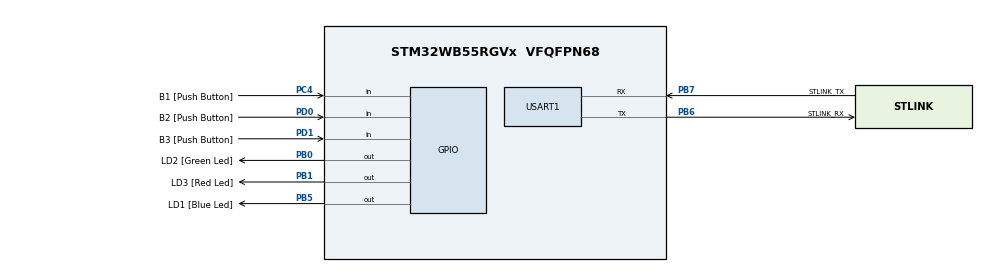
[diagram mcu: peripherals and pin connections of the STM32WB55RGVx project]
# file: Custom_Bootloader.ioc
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Mcu.Family=STM32WB
Mcu.Name=STM32WB55RGVx
Mcu.Package=VFQFPN68
NUCLEO-WB55RG.Bsp_Common_DEMO=true
NVIC.PriorityGroup=NVIC_PRIORITYGROUP_4
NVIC.USART1_IRQn=true\:0\:0\:false\:false\:true\:true\:true\:true
OSC_IN.GPIO_Label=RCC_OSC_IN
OSC_IN.Signal=RCC_OSC_IN
OSC_OUT.GPIO_Label=RCC_OSC_OUT
OSC_OUT.Signal=RCC_OSC_OUT
PA11.GPIO_Label=USB_DM
PA11.Signal=USB_DM
PA12.GPIO_Label=USB_DP
PA12.Signal=USB_DP
PA13.GPIO_Label=JTMS
PA13.Signal=SYS_JTMS-SWDIO
PA14.GPIO_Label=JTCK
PA14.Signal=SYS_JTCK-SWCLK
PB0.GPIO_Label=LD2 [Green Led]
PB0.Signal=GPIO_Output
PB1.GPIO_Label=LD3 [Red Led]
PB1.Signal=GPIO_Output
PB3.GPIO_Label=JTDO
PB3.Signal=SYS_JTDO-SWO
PB5.GPIO_Label=LD1 [Blue Led]
PB5.Signal=GPIO_Output
PB6.GPIO_Label=STLINK_RX
PB6.Mode=Asynchronous
PB6.Signal=USART1_TX
PB7.GPIO_Label=STLINK_TX
PB7.Mode=Asynchronous
PB7.Signal=USART1_RX
PC13.GPIO_Label=SYS_WKUP2
PC13.Signal=SYS_WKUP2
PC14-OSC32_IN.GPIO_Label=RCC_OSC32_IN
PC14-OSC32_IN.Signal=RCC_OSC32_IN
PC15-OSC32_OUT.GPIO_Label=RCC_OSC32_OUT
PC15-OSC32_OUT.Signal=RCC_OSC32_OUT
PC4.GPIO_Label=B1 [Push Button]
PC4.Signal=GPIO_Input
PD0.GPIO_Label=B2 [Push Button]
PD0.Signal=GPIO_Input
PD1.GPIO_Label=B3 [Push Button]
PD1.Signal=GPIO_Input
ProjectManager.HeapSize=0x200
ProjectManager.StackSize=0x400
ProjectManager.TargetToolchain=STM32CubeIDE
RCC.ADCFreq_Value=128000000
RCC.AHBFreq_Value=32000000
RCC.APB1Freq_Value=32000000
RCC.APB1TimFreq_Value=32000000
RCC.APB2Freq_Value=32000000
RCC.APB2TimFreq_Value=32000000
RCC.APB3Freq_Value=16000000
RCC.CortexFreq_Value=32000000
RCC.HCLKFreq_Value=32000000
RCC.HSE_VALUE=32000000
RCC.HSI48_VALUE=48000000
RCC.HSI_VALUE=16000000
RCC.LSE_VALUE=32768
RCC.MSIClockRange=RCC_MSIRANGE_10
RCC.SMPSCLockSelection=RCC_SMPSCLKSOURCE_HSI
RCC.SMPSCLockSelectionVirtual=RCC_SMPSCLKSOURCE_HSI
RCC.SMPSCLockSelectionVirtualVirtual=RCC_SMPSCLKSOURCE_HSI
RCC.SMPSDivider=1
RCC.SYSCLKFreq_VALUE=32000000
RCC.USBFreq_Value=128000000
RCC.VCOOutputFreq_Value=256000000
USART1.VirtualMode-Asynchronous=VM_ASYNC
VP_MEMORYMAP_VS_MEMORYMAP.Mode=CurAppReg
VP_NUCLEO-WB55RG_VS_BSP_COMMON.Mode=COMMON
board=NUCLEO-WB55RG

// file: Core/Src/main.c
/* USER CODE BEGIN Header */
/**
  ******************************************************************************
  * @file           : main.c
  * @brief          : Main program body
  ******************************************************************************
  * @attention
  *
  * Copyright (c) 2025 STMicroelectronics.
  * All rights reserved.
  *
  * This software is licensed under terms that can be found in the LICENSE file
  * in the root directory of this software component.
  * If no LICENSE file comes with this software, it is provided AS-IS.
  *
  ******************************************************************************
  */
/* USER CODE END Header */
#include "main.h"

/* USER CODE BEGIN PTD */
#include <stdio.h>
/* USER CODE END PTD */

/* USER CODE BEGIN PM */
#define MAJOR 0   // BL Major version Number
#define MINOR 1   // BL Minor version Number
/* USER CODE END PM */

static uint32_t delay = 250;
UART_HandleTypeDef huart1;

/* USER CODE BEGIN PV */
const uint8_t BL_Version[2] = { MAJOR, MINOR };
/* USER CODE END PV */

void SystemClock_Config(void);
void PeriphCommonClock_Config(void);
static void MX_GPIO_Init(void);
static void MX_USART1_UART_Init(void);
/* USER CODE BEGIN PFP */
static void goto_application(void);
/* USER CODE END PFP */

int main(void)
{

  /* MCU Configuration--------------------------------------------------------*/

  /* Reset of all peripherals, Initializes the Flash interface and the Systick. */
  HAL_Init();

  /* Configure the system clock */
  SystemClock_Config();

  /* Configure the peripherals common clocks */
  PeriphCommonClock_Config();

  /* Initialize all configured peripherals */
  MX_GPIO_Init();
  MX_USART1_UART_Init();
  /* USER CODE BEGIN 2 */
  printf("Starting Custom Bootloader v(%d.%d) [by : ELHALOUA MOHAMED]\r\n",BL_Version[0],BL_Version[1]);
//  HAL_GPIO_WritePin(GPIOB,GPIO_PIN_1,GPIO_PIN_SET);
//  HAL_Delay(1000);

  goto_application();
  /* USER CODE END 2 */

  /* Infinite loop */
  while (1)
  {

  }
}

void SystemClock_Config(void)
{
  RCC_OscInitTypeDef RCC_OscInitStruct = {0};
  RCC_ClkInitTypeDef RCC_ClkInitStruct = {0};

  /** Configure the main internal regulator output voltage
  */
  __HAL_PWR_VOLTAGESCALING_CONFIG(PWR_REGULATOR_VOLTAGE_SCALE1);

  /** Initializes the RCC Oscillators according to the specified parameters
  * in the RCC_OscInitTypeDef structure.
  */
  RCC_OscInitStruct.OscillatorType = RCC_OSCILLATORTYPE_HSI|RCC_OSCILLATORTYPE_MSI;
  RCC_OscInitStruct.HSIState = RCC_HSI_ON;
  RCC_OscInitStruct.MSIState = RCC_MSI_ON;
  RCC_OscInitStruct.HSICalibrationValue = RCC_HSICALIBRATION_DEFAULT;
  RCC_OscInitStruct.MSICalibrationValue = RCC_MSICALIBRATION_DEFAULT;
  RCC_OscInitStruct.MSIClockRange = RCC_MSIRANGE_10;
  RCC_OscInitStruct.PLL.PLLState = RCC_PLL_NONE;
  if (HAL_RCC_OscConfig(&RCC_OscInitStruct) != HAL_OK)
  {
    Error_Handler();
  }

  /** Configure the SYSCLKSource, HCLK, PCLK1 and PCLK2 clocks dividers
  */
  RCC_ClkInitStruct.ClockType = RCC_CLOCKTYPE_HCLK4|RCC_CLOCKTYPE_HCLK2
                              |RCC_CLOCKTYPE_HCLK|RCC_CLOCKTYPE_SYSCLK
                              |RCC_CLOCKTYPE_PCLK1|RCC_CLOCKTYPE_PCLK2;
  RCC_ClkInitStruct.SYSCLKSource = RCC_SYSCLKSOURCE_MSI;
  RCC_ClkInitStruct.AHBCLKDivider = RCC_SYSCLK_DIV1;
  RCC_ClkInitStruct.APB1CLKDivider = RCC_HCLK_DIV1;
  RCC_ClkInitStruct.APB2CLKDivider = RCC_HCLK_DIV1;
  RCC_ClkInitStruct.AHBCLK2Divider = RCC_SYSCLK_DIV1;
  RCC_ClkInitStruct.AHBCLK4Divider = RCC_SYSCLK_DIV1;

  if (HAL_RCC_ClockConfig(&RCC_ClkInitStruct, FLASH_LATENCY_1) != HAL_OK)
  {
    Error_Handler();
  }
}

void PeriphCommonClock_Config(void)
{
  RCC_PeriphCLKInitTypeDef PeriphClkInitStruct = {0};

  /** Initializes the peripherals clock
  */
  PeriphClkInitStruct.PeriphClockSelection = RCC_PERIPHCLK_SMPS;
  PeriphClkInitStruct.SmpsClockSelection = RCC_SMPSCLKSOURCE_HSI;
  PeriphClkInitStruct.SmpsDivSelection = RCC_SMPSCLKDIV_RANGE0;

  if (HAL_RCCEx_PeriphCLKConfig(&PeriphClkInitStruct) != HAL_OK)
  {
    Error_Handler();
  }
}

static void MX_USART1_UART_Init(void)
{

  huart1.Instance = USART1;
  huart1.Init.BaudRate = 115200;
  huart1.Init.WordLength = UART_WORDLENGTH_8B;
  huart1.Init.StopBits = UART_STOPBITS_1;
  huart1.Init.Parity = UART_PARITY_NONE;
  huart1.Init.Mode = UART_MODE_TX_RX;
  huart1.Init.HwFlowCtl = UART_HWCONTROL_NONE;
  huart1.Init.OverSampling = UART_OVERSAMPLING_16;
  huart1.Init.OneBitSampling = UART_ONE_BIT_SAMPLE_DISABLE;
  huart1.Init.ClockPrescaler = UART_PRESCALER_DIV1;
  huart1.AdvancedInit.AdvFeatureInit = UART_ADVFEATURE_NO_INIT;
  if (HAL_UART_Init(&huart1) != HAL_OK)
  {
    Error_Handler();
  }
  if (HAL_UARTEx_SetTxFifoThreshold(&huart1, UART_TXFIFO_THRESHOLD_1_8) != HAL_OK)
  {
    Error_Handler();
  }
  if (HAL_UARTEx_SetRxFifoThreshold(&huart1, UART_RXFIFO_THRESHOLD_1_8) != HAL_OK)
  {
    Error_Handler();
  }
  if (HAL_UARTEx_DisableFifoMode(&huart1) != HAL_OK)
  {
    Error_Handler();
  }

}

static void MX_GPIO_Init(void)
{
  GPIO_InitTypeDef GPIO_InitStruct = {0};

  /* GPIO Ports Clock Enable */
  __HAL_RCC_GPIOC_CLK_ENABLE();
  __HAL_RCC_GPIOB_CLK_ENABLE();
  __HAL_RCC_GPIOA_CLK_ENABLE();
  __HAL_RCC_GPIOD_CLK_ENABLE();

  /*Configure GPIO pin Output Level */
  HAL_GPIO_WritePin(GPIOB, LD2_Pin|LD3_Pin|LD1_Pin, GPIO_PIN_RESET);

  /*Configure GPIO pin : B1_Pin */
  GPIO_InitStruct.Pin = B1_Pin;
  GPIO_InitStruct.Mode = GPIO_MODE_INPUT;
  GPIO_InitStruct.Pull = GPIO_NOPULL;
  HAL_GPIO_Init(B1_GPIO_Port, &GPIO_InitStruct);

  /*Configure GPIO pins : LD2_Pin LD3_Pin LD1_Pin */
  GPIO_InitStruct.Pin = LD2_Pin|LD3_Pin|LD1_Pin;
  GPIO_InitStruct.Mode = GPIO_MODE_OUTPUT_PP;
  GPIO_InitStruct.Pull = GPIO_NOPULL;
  GPIO_InitStruct.Speed = GPIO_SPEED_FREQ_LOW;
  HAL_GPIO_Init(GPIOB, &GPIO_InitStruct);

  /*Configure GPIO pins : USB_DM_Pin USB_DP_Pin */
  GPIO_InitStruct.Pin = USB_DM_Pin|USB_DP_Pin;
  GPIO_InitStruct.Mode = GPIO_MODE_AF_PP;
  GPIO_InitStruct.Pull = GPIO_NOPULL;
  GPIO_InitStruct.Speed = GPIO_SPEED_FREQ_LOW;
  GPIO_InitStruct.Alternate = GPIO_AF10_USB;
  HAL_GPIO_Init(GPIOA, &GPIO_InitStruct);

  /*Configure GPIO pins : B2_Pin B3_Pin */
  GPIO_InitStruct.Pin = B2_Pin|B3_Pin;
  GPIO_InitStruct.Mode = GPIO_MODE_INPUT;
  GPIO_InitStruct.Pull = GPIO_NOPULL;
  HAL_GPIO_Init(GPIOD, &GPIO_InitStruct);

}

/* USER CODE BEGIN 4 */
/**
  * @brief Print the characters to UART (printf).
  * @retval int
  */
#ifdef __GNUC__
  /* With GCC, small printf (option LD Linker->Libraries->Small printf
     set to 'Yes') calls __io_putchar() */
int __io_putchar(int ch)
#else
int fputc(int ch, FILE *f)
#endif /* __GNUC__ */
{
  /* Place your implementation of fputc here */
  /* e.g. write a character to the UART3 and Loop until the end of transmission */
  HAL_UART_Transmit(&huart1, (uint8_t *)&ch, 1, HAL_MAX_DELAY);
  return ch;
}

//int _write(int file, char *ptr, int len)
//{
//    (void)file;
//    int DataIdx;
//    for (DataIdx = 0; DataIdx < len; DataIdx++)
//    {
//        ITM_SendChar(*ptr++);
//    }
//    return len;
//}

static void goto_application(void)
{
  printf("Gonna Jump to Application after : \r\n");
  // Blink green LED to show bootloader is running
  for(int i = 0; i < 5; i++) {
	  printf("%d...\r\n",5-(i+1));
      HAL_GPIO_WritePin(GPIOB, GPIO_PIN_0, GPIO_PIN_SET);   // Green ON
      HAL_Delay(500);
      HAL_GPIO_WritePin(GPIOB, GPIO_PIN_0, GPIO_PIN_RESET); // Green OFF
      HAL_Delay(500);
  }
  void (*app_reset_handler)(void) = (void*)(*((volatile uint32_t*) (0x08020000 + 4U)));
  //__set_MSP(*(volatile uint32_t*) 0x08020000);
  // Turn OFF the Green Led to tell the user that Bootloader is not running
  HAL_GPIO_WritePin(GPIOB, GPIO_PIN_0, GPIO_PIN_RESET );    //Green LED OFF

  /* Reset the Clock */
  HAL_RCC_DeInit();
  HAL_DeInit();
  __set_MSP(*(volatile uint32_t*) 0x08020000);
  SysTick->CTRL = 0;
  SysTick->LOAD = 0;
  SysTick->VAL = 0;
  /* Jump to application */
  app_reset_handler();    //call the app reset handler
}
/* USER CODE END 4 */

void Error_Handler(void)
{
  __disable_irq();
  while (1)
  {
  }
}
